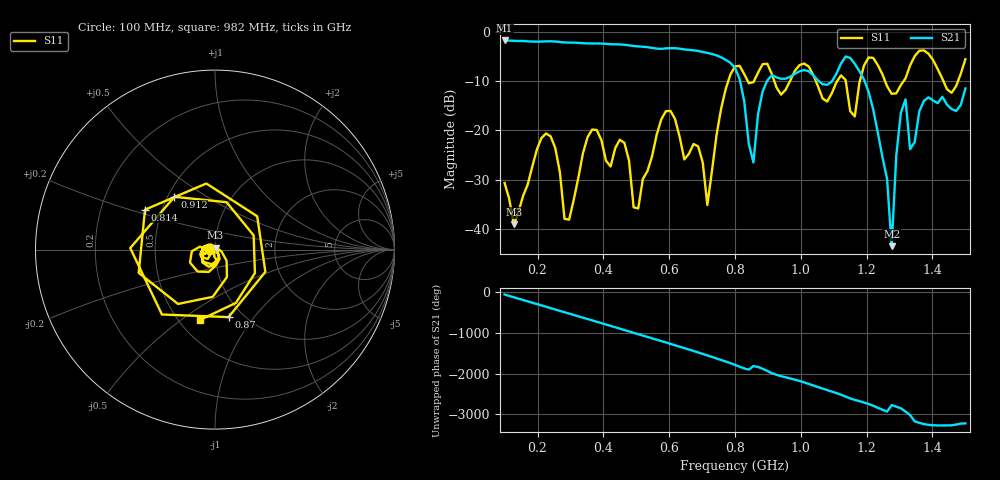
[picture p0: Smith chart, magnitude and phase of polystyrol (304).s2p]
! NanoVNA-App
! Date: 2025-09-25 15:32:15
! Start: 100MHz Stop: 1,5GHz Points: 101
! S-Parameter data: F S11 S21 S12 S22
# Hz S RI R 50
!  Frequency  S11_Real  S11_Imag  S21_Real  S21_Imag  S12_Real  S12_Imag  S22_Real  S22_Imag
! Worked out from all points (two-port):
!   101 points, 100 MHz to 1.5 GHz, reference 50 ohm
!   highest |S21| = -1.80 dB at 100 MHz (marker M1); lowest = -43.5 dB at 1.276 GHz (marker M2)
!   |S21| within 3 dB of the highest: start of sweep to 742.7 MHz
!   lowest |S11| = -39.1 dB at 128 MHz (marker M3), VSWR 1.02, Z = 50.3 + j1.06 ohm
!   |S11| at or under -10 dB: start of sweep to 779.8 MHz; 1.045 GHz to 1.111 GHz (65.58 MHz wide, 6.08 % of centre); 1.256 GHz to 1.313 GHz (56.92 MHz wide, 4.43 % of centre)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
!   S12 and S22 are empty: the file has one direction only
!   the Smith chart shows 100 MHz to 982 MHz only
!   S11 on the Smith chart (normalised r, x): 100 MHz: 0.94, -0.01; 814 MHz: 0.40, +0.22; 870 MHz: 0.86, -0.75; 912 MHz: 0.54, +0.37; 982 MHz: 0.63, -0.59
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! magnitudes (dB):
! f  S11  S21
! 100 MHz  -30.7  -1.8
! 128 MHz  -39.1  -1.9
! 212 MHz  -21.6  -2.0
! 282 MHz  -38.0  -2.2
! 338 MHz  -24.7  -2.3
! 464 MHz  -22.6  -2.7
! 506 MHz  -35.9  -3.0
! 576 MHz  -17.8  -3.5
! 716 MHz  -35.2  -4.3
! 800 MHz  -7.0  -7.4
! 814 MHz  -7.0  -9.6
! 856 MHz  -10.3  -26.5
! 870 MHz  -8.3  -16.7
! 912 MHz  -8.6  -8.8
! 982 MHz  -7.9  -8.6
! 1.038 GHz  -8.8  -8.9
! 1.164 GHz  -17.2  -6.6
! 1.192 GHz  -6.9  -9.7
! 1.276 GHz  -12.6  -43.5
! 1.318 GHz  -9.5  -13.8
! 1.332 GHz  -6.8  -23.9
! 1.5 GHz  -5.6  -11.5
